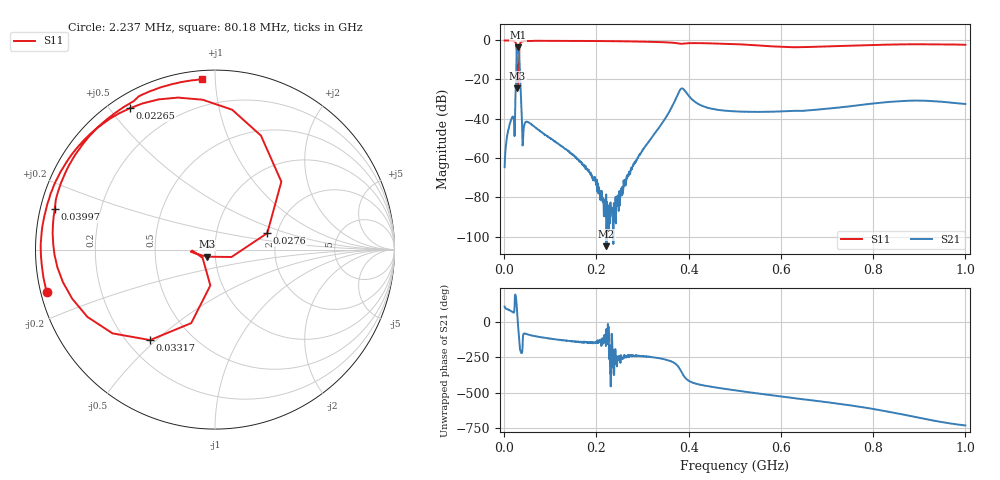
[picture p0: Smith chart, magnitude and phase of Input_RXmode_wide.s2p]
# HZ S RI R 50
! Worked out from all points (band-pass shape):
!   1616 points, 1 MHz to 1 GHz, reference 50 ohm
!   highest |S21| = -3.63 dB at 30.07 MHz (marker M1); lowest = -104.8 dB at 221.8 MHz (marker M2)
!   |S21| within 3 dB of the highest: 27.58 MHz to 32.44 MHz (4.86 MHz wide, 16.2 % of centre)
!   lowest |S11| = -24.5 dB at 28.84 MHz (marker M3), VSWR 1.13, Z = 45.6 - j3.62 ohm
!   |S11| at or under -10 dB: 27.56 MHz to 32.3 MHz (4.737 MHz wide, 15.8 % of centre)
!   S12 and S22 are empty: the file has one direction only
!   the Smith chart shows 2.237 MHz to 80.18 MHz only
!   S11 on the Smith chart (normalised r, x): 2.237 MHz: 0.02, -0.12; 22.65 MHz: 0.06, +0.56; 27.6 MHz: 1.78, +0.36; 33.17 MHz: 0.29, -0.48; 39.97 MHz: 0.04, +0.12; 80.18 MHz: 0.05, +0.93
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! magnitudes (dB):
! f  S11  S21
! 1 MHz  -0.3  -64.6
! 2.237 MHz  -0.3  -58.0
! 10.28 MHz  -0.3  -44.7
! 19.56 MHz  -0.5  -39.0
! 22.65 MHz  -0.7  -48.8
! 27.6 MHz  -10.3  -6.5
! 28.84 MHz  -24.5  -4.0
! 30.07 MHz  -17.4  -3.6
! 33.17 MHz  -4.1  -10.0
! 39.97 MHz  -0.7  -53.6
! 43.68 MHz  -0.6  -43.2
! 80.18 MHz  -0.4  -46.7
! 168 MHz  -0.5  -62.5
! 221.8 MHz  -0.6  -104.8
! 251.5 MHz  -0.7  -79.2
! 334.4 MHz  -1.1  -45.0
! 385.1 MHz  -1.9  -24.6
! 429.1 MHz  -1.6  -33.4
! 500.8 MHz  -2.1  -36.3
! 667.2 MHz  -3.5  -35.6
! 833.6 MHz  -2.4  -31.5
! 1 GHz  -2.5  -32.5
